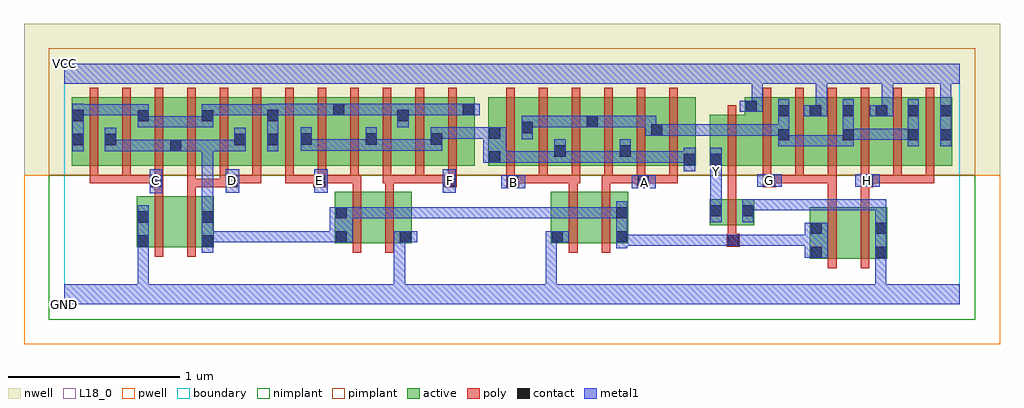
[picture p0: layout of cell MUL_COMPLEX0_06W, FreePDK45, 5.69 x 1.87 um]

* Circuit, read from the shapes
.subckt MUL_COMPLEX0_06W A B C D E F G GND H VCC Y
M1 n1 C GND VSUBS nfet w=0.3u l=0.05u
M2 n2 D n1 VSUBS nfet w=0.3u l=0.05u
M3 n3 E n2 VSUBS nfet w=0.3u l=0.05u
M4 GND F n3 VSUBS nfet w=0.3u l=0.05u
M5 n4 B GND VSUBS nfet w=0.3u l=0.05u
M6 n2 A n4 VSUBS nfet w=0.3u l=0.05u
M7 GND n2 Y VSUBS nfet w=0.15u l=0.05u
M8 n5 G n2 VSUBS nfet w=0.3u l=0.05u
M9 GND H n5 VSUBS nfet w=0.3u l=0.05u
M10 n2 C n6 n7 pfet w=0.4u l=0.05u m=3
M11 n6 D n2 n7 pfet w=0.4u l=0.05u m=3
M12 n8 E n6 n7 pfet w=0.4u l=0.05u m=3
M13 n6 F n8 n7 pfet w=0.4u l=0.05u m=3
M14 n9 B n8 n7 pfet w=0.4u l=0.05u m=3
M15 n8 A n9 n7 pfet w=0.4u l=0.05u m=3
M16 VCC n2 Y n7 pfet w=0.3u l=0.05u
M17 n9 G VCC n7 pfet w=0.4u l=0.05u m=3
M18 VCC H n9 n7 pfet w=0.4u l=0.05u m=3
.ends

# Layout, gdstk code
import gdstk
lib = gdstk.Library(unit=1e-6, precision=1e-09)
def R(c, l, rs):  # rectangles x0, y0, x1, y1
    for r in rs: c.add(gdstk.rectangle(r[:2], r[2:], *l))
def A(c, l, x, y, w, h, nx, ny, dx, dy):  # array of equal rectangles
    R(c, l, [(x+i*dx, y+j*dy, x+i*dx+w, y+j*dy+h) for i in range(nx) for j in range(ny)])
active = (1, 0)
pwell = (2, 0)
nwell = (3, 0)
nimplant = (4, 0)
pimplant = (5, 0)
poly = (9, 0)
contact = (10, 0)
metal1 = (11, 0)
L18_0 = (18, 0)
boundary = (235, 0)

mul_complex0_06w = lib.new_cell('MUL_COMPLEX0_06W')
A(mul_complex0_06w, active, 0.042, 0.805, 0.265, 0.4, 3, 1, 0.19, 0)
A(mul_complex0_06w, active, 1.372, 0.805, 0.075, 0.265, 3, 1, 0.38, 0)
R(mul_complex0_06w, active, [(4.347,0.265,4.422,0.565), (4.347,0.265,4.572,0.565), (4.572,0.265,4.797,0.565), (4.722,0.265,4.797,0.565), (0.422,0.33,0.497,0.63), (0.422,0.33,0.647,0.63), (0.647,0.33,0.872,0.63), (0.797,0.33,0.872,0.63), (1.577,0.355,1.652,0.655), (1.577,0.355,1.802,0.655), (1.802,0.355,2.027,0.655), (1.952,0.355,2.027,0.655), (2.837,0.355,2.912,0.655), (2.837,0.355,3.062,0.655), (3.062,0.355,3.287,0.655), (3.212,0.355,3.287,0.655), (3.762,0.46,4.022,0.61), (3.762,0.507,3.837,0.61), (3.947,0.507,4.022,0.61), (0.042,0.805,0.117,1.2), (0.232,0.805,0.307,1.07), (0.422,0.805,0.497,1.2), (0.612,0.805,0.872,1.205), (0.612,0.805,0.687,1.07), (0.797,0.805,1.062,1.205), (0.797,0.805,0.872,1.2), (0.987,0.805,1.252,1.205), (0.987,0.805,1.062,1.07), (1.177,0.805,1.252,1.2), (1.177,0.805,1.447,1.205), (1.372,0.805,1.637,1.205), (1.562,0.805,1.827,1.205), (1.562,0.805,1.637,1.2), (1.752,0.805,2.012,1.205), (1.937,0.805,2.012,1.2), (1.937,0.805,2.207,1.205), (2.132,0.805,2.392,1.205), (2.317,0.805,2.392,1.2), (2.472,0.805,2.737,1.205), (2.472,0.805,2.547,1.2), (2.662,0.805,2.927,1.205), (2.662,0.805,2.737,1.2), (2.852,0.805,2.927,1.07), (2.852,0.805,3.115,1.205), (3.04,0.805,3.115,1.2), (3.04,0.805,3.307,1.205), (3.232,0.805,3.492,1.205), (3.232,0.805,3.307,1.07), (3.417,0.805,3.682,1.205), (3.417,0.805,3.492,1.2), (3.607,0.805,3.682,1.07), (3.762,0.805,4.042,1.105), (3.762,0.805,3.837,1.07), (3.967,0.805,4.232,1.205), (4.157,0.805,4.232,1.2), (4.157,0.805,4.417,1.205), (4.342,0.805,4.417,1.205), (4.342,0.805,4.607,1.205), (4.532,0.805,4.607,1.2), (4.532,0.805,4.802,1.205), (4.727,0.805,4.802,1.205), (4.727,0.805,4.987,1.205), (4.912,0.805,5.177,1.205), (4.912,0.805,4.987,1.2), (5.102,0.805,5.177,1.205), (3.967,0.96,4.042,1.205)])
R(mul_complex0_06w, pwell, [(-0.235,-0.235,5.455,0.75)])
R(mul_complex0_06w, nwell, [(-0.235,0.75,5.455,1.635)])
R(mul_complex0_06w, nimplant, [(-0.09,-0.09,5.31,0.75)])
R(mul_complex0_06w, pimplant, [(-0.09,0.75,5.31,1.49)])
A(mul_complex0_06w, poly, 0.147, 0.705, 0.05, 0.095, 3, 1, 0.19, 0)
A(mul_complex0_06w, poly, 0.907, 0.705, 0.05, 0.095, 8, 1, 0.19, 0)
A(mul_complex0_06w, poly, 2.577, 0.705, 0.05, 0.095, 6, 1, 0.19, 0)
A(mul_complex0_06w, poly, 4.072, 0.705, 0.05, 0.095, 6, 1, 0.19, 0)
A(mul_complex0_06w, poly, 0.147, 0.75, 0.05, 0.51, 12, 1, 0.19, 0)
A(mul_complex0_06w, poly, 2.577, 0.75, 0.05, 0.51, 6, 1, 0.19, 0)
A(mul_complex0_06w, poly, 4.072, 0.75, 0.05, 0.51, 6, 1, 0.19, 0)
R(mul_complex0_06w, poly, [(4.452,0.21,4.502,0.62), (4.642,0.21,4.692,0.62), (0.527,0.275,0.577,0.685), (0.717,0.275,0.767,0.685), (1.682,0.3,1.732,0.71), (1.872,0.3,1.922,0.71), (2.942,0.3,2.992,0.71), (3.132,0.3,3.182,0.71), (3.862,0.335,3.937,0.41), (3.867,0.36,3.917,0.455), (3.867,0.405,3.917,0.665), (4.452,0.57,4.502,0.755), (4.642,0.57,4.692,0.73), (3.867,0.615,3.917,0.71), (0.527,0.635,0.577,0.73), (0.717,0.635,0.767,0.73), (1.682,0.66,1.732,0.755), (1.872,0.66,1.922,0.755), (2.942,0.66,2.992,0.755), (3.132,0.66,3.182,0.755), (3.867,0.66,3.917,0.71), (3.867,0.66,3.917,0.8), (0.502,0.68,0.577,0.755), (0.717,0.68,0.767,0.73), (0.717,0.68,0.767,0.73), (0.717,0.68,0.767,0.73), (0.717,0.68,0.957,0.73), (0.717,0.68,0.767,0.8), (0.907,0.68,1.012,0.755), (1.452,0.68,1.527,0.755), (2.212,0.68,2.287,0.755), (2.577,0.68,2.652,0.755), (3.337,0.68,3.412,0.755), (4.072,0.68,4.147,0.755), (4.642,0.68,4.717,0.755), (0.147,0.705,0.197,0.755), (0.147,0.705,0.197,0.755), (0.147,0.705,0.197,0.755), (0.147,0.705,0.387,0.755), (0.337,0.705,0.387,0.755), (0.337,0.705,0.552,0.755), (0.502,0.705,0.552,0.755), (0.502,0.705,0.552,0.755), (0.962,0.705,1.012,0.755), (0.962,0.705,1.012,0.755), (0.962,0.705,1.147,0.755), (1.097,0.705,1.147,0.755), (1.287,0.705,1.337,0.755), (1.287,0.705,1.337,0.755), (1.287,0.705,1.337,0.755), (1.287,0.705,1.502,0.755), (1.477,0.705,1.717,0.755), (1.667,0.705,1.717,0.755), (1.667,0.705,1.717,0.755), (1.667,0.705,1.732,0.755), (1.857,0.705,1.922,0.755), (1.872,0.705,1.922,0.755), (1.872,0.705,1.922,0.755), (1.872,0.705,2.097,0.755), (2.047,0.705,2.097,0.755), (2.047,0.705,2.097,0.755), (2.047,0.705,2.097,0.755), (2.047,0.705,2.262,0.755), (2.602,0.705,2.652,0.755), (2.602,0.705,2.652,0.755), (2.602,0.705,2.817,0.755), (2.767,0.705,2.817,0.755), (2.767,0.705,2.992,0.755), (2.942,0.705,2.992,0.755), (2.942,0.705,2.992,0.755), (2.942,0.705,3.007,0.755), (3.132,0.705,3.197,0.755), (3.147,0.705,3.197,0.755), (3.147,0.705,3.197,0.755), (3.147,0.705,3.387,0.755), (3.362,0.705,3.412,0.755), (3.362,0.705,3.412,0.755), (3.362,0.705,3.577,0.755), (3.527,0.705,3.577,0.755), (4.097,0.705,4.147,0.755), (4.097,0.705,4.147,0.755), (4.097,0.705,4.312,0.755), (4.262,0.705,4.312,0.755), (4.262,0.705,4.502,0.755), (4.452,0.705,4.502,0.755), (4.452,0.705,4.502,0.755), (4.452,0.705,4.502,0.755), (4.667,0.705,4.882,0.755), (4.832,0.705,4.882,0.755), (4.832,0.705,4.882,0.755), (4.832,0.705,4.882,0.755), (4.832,0.705,5.072,0.755), (5.022,0.705,5.072,0.755), (5.022,0.705,5.072,0.755), (5.022,0.705,5.072,0.755), (3.867,0.75,3.917,1.16)])
A(mul_complex0_06w, contact, 1.377, 0.93, 0.065, 0.065, 3, 1, 0.38, 0)
R(mul_complex0_06w, contact, [(4.352,0.27,4.417,0.335), (4.727,0.27,4.792,0.335), (0.427,0.335,0.492,0.4), (0.802,0.335,0.867,0.4), (3.867,0.34,3.932,0.405), (1.582,0.36,1.647,0.425), (1.957,0.36,2.022,0.425), (2.842,0.36,2.907,0.425), (3.217,0.36,3.282,0.425), (4.352,0.41,4.417,0.475), (4.727,0.41,4.792,0.475), (0.427,0.475,0.492,0.54), (0.802,0.475,0.867,0.54), (1.582,0.5,1.647,0.565), (3.217,0.5,3.282,0.565), (3.767,0.512,3.832,0.577), (3.952,0.512,4.017,0.577), (0.507,0.685,0.572,0.75), (0.942,0.685,1.007,0.75), (1.457,0.685,1.522,0.75), (2.217,0.685,2.282,0.75), (2.582,0.685,2.647,0.75), (3.342,0.685,3.407,0.75), (4.077,0.685,4.142,0.75), (4.647,0.685,4.712,0.75), (3.612,0.81,3.677,0.875), (3.767,0.81,3.832,0.875), (2.477,0.825,2.542,0.89), (2.857,0.86,2.922,0.925), (3.237,0.86,3.302,0.925), (0.617,0.892,0.682,0.957), (0.047,0.927,0.112,0.992), (0.237,0.927,0.302,0.992), (0.992,0.927,1.057,0.992), (1.182,0.927,1.247,0.992), (4.162,0.955,4.227,1.02), (4.537,0.955,4.602,1.02), (4.917,0.955,4.982,1.02), (5.107,0.955,5.172,1.02), (2.477,0.965,2.542,1.03), (3.422,0.982,3.487,1.047), (2.667,0.997,2.732,1.062), (3.045,1.032,3.11,1.097), (0.427,1.065,0.492,1.13), (0.802,1.065,0.867,1.13), (0.047,1.067,0.112,1.132), (1.182,1.067,1.247,1.132), (1.942,1.067,2.007,1.132), (4.162,1.095,4.227,1.16), (4.347,1.095,4.412,1.16), (4.537,1.095,4.602,1.16), (4.732,1.095,4.797,1.16), (4.917,1.095,4.982,1.16), (5.107,1.095,5.172,1.16), (1.567,1.102,1.632,1.167), (2.322,1.102,2.387,1.167), (3.972,1.12,4.037,1.185)])
A(mul_complex0_06w, metal1, 1.377, 0.895, 0.065, 0.135, 3, 1, 0.38, 0)
R(mul_complex0_06w, metal1, [(0,0,5.22,0.115), (0.427,0.05,0.492,0.115), (0.427,0.05,0.492,0.115), (0.427,0.05,0.492,0.365), (1.922,0.05,1.987,0.115), (1.922,0.05,1.987,0.115), (1.922,0.05,1.987,0.115), (1.922,0.05,1.987,0.115), (1.922,0.05,1.987,0.425), (2.807,0.05,2.872,0.115), (2.807,0.05,2.872,0.115), (2.807,0.05,2.872,0.115), (2.807,0.05,2.872,0.115), (2.807,0.05,2.872,0.425), (4.727,0.05,4.792,0.115), (4.727,0.05,4.792,0.115), (4.727,0.05,4.792,0.3), (4.727,0.235,4.792,0.51), (4.727,0.235,4.792,0.3), (4.727,0.235,4.792,0.3), (4.317,0.27,4.452,0.475), (0.427,0.3,0.492,0.575), (0.427,0.3,0.492,0.365), (0.427,0.3,0.492,0.365), (0.802,0.3,0.867,0.575), (3.217,0.325,3.282,0.6), (3.217,0.34,3.44,0.405), (3.375,0.34,3.44,0.405), (3.375,0.34,3.44,0.405), (3.375,0.34,3.44,0.405), (3.375,0.34,3.66,0.405), (3.595,0.34,3.66,0.405), (3.595,0.34,3.66,0.405), (3.595,0.34,3.66,0.405), (3.595,0.34,3.66,0.405), (3.595,0.34,3.66,0.405), (3.595,0.34,3.83,0.405), (3.765,0.34,3.83,0.405), (3.765,0.34,3.83,0.405), (3.765,0.34,3.83,0.405), (3.765,0.34,3.897,0.405), (3.832,0.34,3.967,0.405), (3.902,0.34,3.967,0.405), (3.902,0.34,3.967,0.405), (3.902,0.34,4.155,0.405), (4.09,0.34,4.155,0.405), (4.09,0.34,4.155,0.405), (4.09,0.34,4.155,0.405), (4.09,0.34,4.382,0.405), (4.317,0.34,4.382,0.405), (4.317,0.34,4.382,0.405), (0.802,0.36,0.867,0.425), (0.802,0.36,0.867,0.425), (0.802,0.36,1.057,0.425), (0.992,0.36,1.057,0.425), (0.992,0.36,1.195,0.425), (1.13,0.36,1.195,0.425), (1.13,0.36,1.195,0.425), (1.13,0.36,1.195,0.425), (1.13,0.36,1.385,0.425), (1.32,0.36,1.385,0.425), (1.32,0.36,1.385,0.425), (1.32,0.36,1.385,0.425), (1.32,0.36,1.522,0.425), (1.457,0.36,1.522,0.425), (1.457,0.36,1.612,0.425), (1.547,0.36,1.682,0.565), (1.922,0.36,2.057,0.425), (2.807,0.36,2.942,0.425), (4.727,0.445,4.792,0.612), (3.767,0.477,3.832,0.612), (3.952,0.477,4.017,0.612), (1.617,0.5,1.682,0.565), (1.617,0.5,1.682,0.565), (1.617,0.5,1.85,0.565), (1.785,0.5,1.85,0.565), (1.785,0.5,1.85,0.565), (1.785,0.5,1.85,0.565), (1.785,0.5,2.065,0.565), (2,0.5,2.065,0.565), (2,0.5,2.065,0.565), (2,0.5,2.065,0.565), (2,0.5,2.215,0.565), (2.15,0.5,2.215,0.565), (2.15,0.5,2.37,0.565), (2.305,0.5,2.37,0.565), (2.305,0.5,2.37,0.565), (2.305,0.5,2.37,0.565), (2.305,0.5,2.507,0.565), (2.442,0.5,2.507,0.565), (2.442,0.5,2.507,0.565), (2.442,0.5,2.507,0.565), (2.442,0.5,2.715,0.565), (2.65,0.5,2.715,0.565), (2.65,0.5,2.715,0.565), (2.65,0.5,2.715,0.565), (2.65,0.5,2.937,0.565), (2.872,0.5,2.937,0.565), (2.872,0.5,2.937,0.565), (2.872,0.5,2.937,0.565), (2.872,0.5,3.08,0.565), (3.015,0.5,3.08,0.565), (3.015,0.5,3.08,0.565), (3.015,0.5,3.08,0.565), (3.015,0.5,3.282,0.565), (0.802,0.51,0.867,0.575), (0.802,0.51,0.867,0.575), (0.802,0.51,0.867,0.957), (3.767,0.547,3.832,0.767), (3.952,0.547,4.227,0.612), (4.162,0.547,4.227,0.612), (4.162,0.547,4.227,0.612), (4.162,0.547,4.227,0.612), (4.162,0.547,4.402,0.612), (4.337,0.547,4.402,0.612), (4.337,0.547,4.402,0.612), (4.337,0.547,4.402,0.612), (4.337,0.547,4.54,0.612), (4.475,0.547,4.54,0.612), (4.475,0.547,4.54,0.612), (4.475,0.547,4.54,0.612), (4.475,0.547,4.792,0.612), (4.727,0.547,4.792,0.612), (4.727,0.547,4.792,0.612), (4.727,0.547,4.792,0.612), (4.727,0.547,4.792,0.612), (4.727,0.547,4.792,0.612), (0.497,0.647,0.572,0.787), (0.942,0.65,1.02,0.787), (1.457,0.65,1.535,0.787), (2.205,0.65,2.282,0.787), (2.547,0.675,2.687,0.75), (3.307,0.675,3.447,0.75), (4.04,0.685,4.182,0.757), (4.612,0.685,4.755,0.757), (3.767,0.702,3.832,0.84), (3.612,0.775,3.677,0.91), (3.767,0.775,3.832,0.84), (3.767,0.775,3.832,0.91), (2.442,0.825,2.577,1.03), (2.512,0.825,2.577,0.89), (2.512,0.825,2.577,0.89), (2.512,0.825,2.735,0.89), (2.67,0.825,2.735,0.89), (2.67,0.825,2.735,0.89), (2.67,0.825,2.735,0.89), (2.67,0.825,2.922,0.89), (2.857,0.825,2.922,0.89), (2.857,0.825,2.922,0.89), (2.857,0.825,2.922,0.96), (2.857,0.825,3.145,0.89), (3.08,0.825,3.145,0.89), (3.08,0.825,3.145,0.89), (3.08,0.825,3.145,0.89), (3.08,0.825,3.302,0.89), (3.237,0.825,3.302,0.89), (3.237,0.825,3.302,0.89), (3.237,0.825,3.44,0.89), (3.237,0.825,3.302,0.96), (3.375,0.825,3.44,0.89), (3.375,0.825,3.677,0.89), (3.612,0.825,3.677,0.89), (3.612,0.825,3.677,0.89), (0.047,0.892,0.112,1.167), (0.237,0.892,0.302,0.957), (0.237,0.892,0.302,0.957), (0.237,0.892,0.302,1.027), (0.237,0.892,0.51,0.957), (0.445,0.892,0.51,0.957), (0.445,0.892,0.51,0.957), (0.445,0.892,0.51,0.957), (0.445,0.892,0.647,0.957), (0.582,0.892,0.717,0.957), (0.652,0.892,0.717,0.957), (0.652,0.892,0.717,0.957), (0.652,0.892,0.867,0.957), (0.802,0.892,0.867,0.957), (0.802,0.892,1.057,0.957), (0.992,0.892,1.057,0.957), (0.992,0.892,1.057,0.957), (0.992,0.892,1.057,1.027), (1.182,0.892,1.247,1.167), (1.377,0.895,1.522,0.96), (1.457,0.895,1.522,0.96), (1.457,0.895,1.667,0.96), (1.602,0.895,1.667,0.96), (1.602,0.895,1.667,0.96), (1.602,0.895,1.667,0.96), (1.602,0.895,1.822,0.96), (1.757,0.895,1.822,0.96), (1.757,0.895,1.822,0.96), (1.757,0.895,2.065,0.96), (2,0.895,2.065,0.96), (2,0.895,2.065,0.96), (2,0.895,2.065,0.96), (2,0.895,2.202,0.96), (4.162,0.92,4.227,1.195), (4.162,0.92,4.365,0.985), (4.3,0.92,4.365,0.985), (4.3,0.92,4.365,0.985), (4.3,0.92,4.365,0.985), (4.3,0.92,4.54,0.985), (4.475,0.92,4.54,0.985), (4.475,0.92,4.602,0.985), (4.537,0.92,4.602,1.195), (4.917,0.92,4.982,1.195), (5.107,0.92,5.172,1.195), (4.537,0.957,4.845,1.022), (4.78,0.957,4.845,1.022), (4.78,0.957,4.845,1.022), (4.78,0.957,4.845,1.022), (4.78,0.957,4.982,1.022), (4.917,0.957,4.982,1.022), (4.917,0.957,4.982,1.022), (2.667,0.962,2.732,1.097), (2.137,0.965,2.37,1.03), (2.305,0.965,2.37,1.03), (2.305,0.965,2.37,1.03), (2.305,0.965,2.37,1.03), (2.305,0.965,2.507,1.03), (3.387,0.982,3.452,1.047), (3.387,0.982,3.522,1.047), (3.387,0.982,3.452,1.097), (3.457,0.982,3.692,1.047), (3.627,0.982,3.692,1.047), (3.627,0.982,3.692,1.047), (3.627,0.982,3.692,1.047), (3.627,0.982,3.83,1.047), (3.765,0.982,3.83,1.047), (3.765,0.982,3.83,1.047), (3.765,0.982,3.83,1.047), (3.765,0.982,3.97,1.047), (3.905,0.982,3.97,1.047), (3.905,0.982,3.97,1.047), (3.905,0.982,3.97,1.047), (3.905,0.982,4.227,1.047), (4.162,0.982,4.227,1.047), (4.162,0.982,4.227,1.047), (0.427,1.03,0.492,1.095), (0.427,1.03,0.492,1.095), (0.427,1.03,0.492,1.165), (0.427,1.03,0.647,1.095), (0.582,1.03,0.647,1.095), (0.582,1.03,0.647,1.095), (0.582,1.03,0.647,1.095), (0.582,1.03,0.867,1.095), (0.802,1.03,0.867,1.165), (1.942,1.032,2.007,1.167), (2.667,1.032,2.732,1.097), (2.667,1.032,2.732,1.097), (2.667,1.032,2.872,1.097), (2.807,1.032,2.872,1.097), (2.807,1.032,2.872,1.097), (2.807,1.032,2.872,1.097), (2.807,1.032,3.075,1.097), (3.01,1.032,3.145,1.097), (3.08,1.032,3.145,1.097), (3.08,1.032,3.145,1.097), (3.08,1.032,3.302,1.097), (3.237,1.032,3.302,1.097), (3.237,1.032,3.452,1.097), (4.312,1.095,4.447,1.16), (4.382,1.095,4.447,1.35), (4.697,1.095,4.832,1.16), (4.767,1.095,4.832,1.35), (0.047,1.1,0.112,1.165), (0.047,1.1,0.112,1.165), (0.047,1.1,0.355,1.165), (0.29,1.1,0.355,1.165), (0.29,1.1,0.355,1.165), (0.29,1.1,0.355,1.165), (0.29,1.1,0.492,1.165), (0.802,1.1,1.057,1.165), (0.992,1.1,1.057,1.165), (0.992,1.1,1.057,1.165), (0.992,1.1,1.057,1.165), (0.992,1.1,1.247,1.165), (1.182,1.1,1.247,1.165), (1.182,1.1,1.247,1.165), (1.182,1.102,1.385,1.167), (1.32,1.102,1.385,1.167), (1.32,1.102,1.385,1.167), (1.32,1.102,1.385,1.167), (1.32,1.102,1.522,1.167), (1.457,1.102,1.522,1.167), (1.457,1.102,1.597,1.167), (1.532,1.102,1.667,1.167), (1.602,1.102,1.667,1.167), (1.602,1.102,1.667,1.167), (1.602,1.102,1.85,1.167), (1.785,1.102,1.85,1.167), (1.785,1.102,1.85,1.167), (1.785,1.102,1.85,1.167), (1.785,1.102,2.007,1.167), (1.942,1.102,2.007,1.167), (1.942,1.102,2.007,1.167), (1.942,1.102,2.215,1.167), (2.15,1.102,2.215,1.167), (2.15,1.102,2.215,1.167), (2.15,1.102,2.215,1.167), (2.15,1.102,2.352,1.167), (2.287,1.102,2.422,1.167), (3.937,1.12,4.072,1.185), (4.007,1.12,4.072,1.35), (5.107,1.13,5.172,1.35), (0,1.285,5.22,1.4)])
R(mul_complex0_06w, L18_0, [(0,0,5.22,0.115), (0.427,0.05,0.492,0.115), (0.427,0.05,0.492,0.115), (0.427,0.05,0.492,0.365), (1.922,0.05,1.987,0.115), (1.922,0.05,1.987,0.115), (1.922,0.05,1.987,0.115), (1.922,0.05,1.987,0.115), (1.922,0.05,1.987,0.425), (2.807,0.05,2.872,0.115), (2.807,0.05,2.872,0.115), (2.807,0.05,2.872,0.115), (2.807,0.05,2.872,0.115), (2.807,0.05,2.872,0.425), (4.727,0.05,4.792,0.115), (4.727,0.05,4.792,0.115), (4.727,0.05,4.792,0.3), (4.727,0.235,4.792,0.3), (4.727,0.235,4.792,0.3), (4.727,0.235,4.792,0.51), (0.427,0.3,0.492,0.365), (0.427,0.3,0.492,0.365), (0.427,0.3,0.492,0.575), (1.922,0.36,2.057,0.425), (2.807,0.36,2.942,0.425), (4.727,0.445,4.792,0.612), (3.767,0.477,3.832,0.612), (3.952,0.477,4.017,0.612), (3.767,0.547,3.832,0.767), (3.952,0.547,4.227,0.612), (4.162,0.547,4.227,0.612), (4.162,0.547,4.227,0.612), (4.162,0.547,4.227,0.612), (4.162,0.547,4.402,0.612), (4.337,0.547,4.402,0.612), (4.337,0.547,4.402,0.612), (4.337,0.547,4.402,0.612), (4.337,0.547,4.54,0.612), (4.475,0.547,4.54,0.612), (4.475,0.547,4.54,0.612), (4.475,0.547,4.54,0.612), (4.475,0.547,4.792,0.612), (4.727,0.547,4.792,0.612), (4.727,0.547,4.792,0.612), (4.727,0.547,4.792,0.612), (4.727,0.547,4.792,0.612), (4.727,0.547,4.792,0.612), (0.497,0.647,0.572,0.787), (0.942,0.65,1.02,0.787), (1.457,0.65,1.535,0.787), (2.205,0.65,2.282,0.787), (2.547,0.675,2.687,0.75), (3.307,0.675,3.447,0.75), (2.587,0.677,2.652,0.742), (3.347,0.677,3.412,0.742), (4.04,0.685,4.182,0.757), (4.612,0.685,4.755,0.757), (0.497,0.687,0.562,0.752), (0.947,0.687,1.012,0.752), (1.457,0.687,1.522,0.752), (2.217,0.687,2.282,0.752), (4.077,0.687,4.142,0.752), (4.647,0.687,4.712,0.752), (3.767,0.702,3.832,0.84), (3.767,0.737,3.832,0.802), (3.767,0.775,3.832,0.84), (3.767,0.775,3.832,0.91), (5.107,0.92,5.172,1.195), (4.312,1.095,4.447,1.16), (4.382,1.095,4.447,1.35), (4.697,1.095,4.832,1.16), (4.767,1.095,4.832,1.35), (3.937,1.12,4.072,1.185), (4.007,1.12,4.072,1.35), (5.107,1.13,5.172,1.35), (0,1.285,5.22,1.4)])
R(mul_complex0_06w, boundary, [(0,0,5.22,1.4)])
mul_complex0_06w.add(gdstk.Label('A', (3.38,0.71), layer=11, texttype=0))
mul_complex0_06w.add(gdstk.Label('B', (2.62,0.71), layer=11, texttype=0))
mul_complex0_06w.add(gdstk.Label('C', (0.53,0.72), layer=11, texttype=0))
mul_complex0_06w.add(gdstk.Label('D', (0.98,0.72), layer=11, texttype=0))
mul_complex0_06w.add(gdstk.Label('E', (1.49,0.72), layer=11, texttype=0))
mul_complex0_06w.add(gdstk.Label('F', (2.25,0.72), layer=11, texttype=0))
mul_complex0_06w.add(gdstk.Label('G', (4.11,0.72), layer=11, texttype=0))
mul_complex0_06w.add(gdstk.Label('H', (4.68,0.72), layer=11, texttype=0))
mul_complex0_06w.add(gdstk.Label('Y', (3.8,0.77), layer=11, texttype=0))
mul_complex0_06w.add(gdstk.Label('VCC', (0,1.4), layer=11, texttype=0))
mul_complex0_06w.add(gdstk.Label('GND', (0,0), layer=11, texttype=0))

lib.write_gds('MUL_COMPLEX0_06W.gds')
